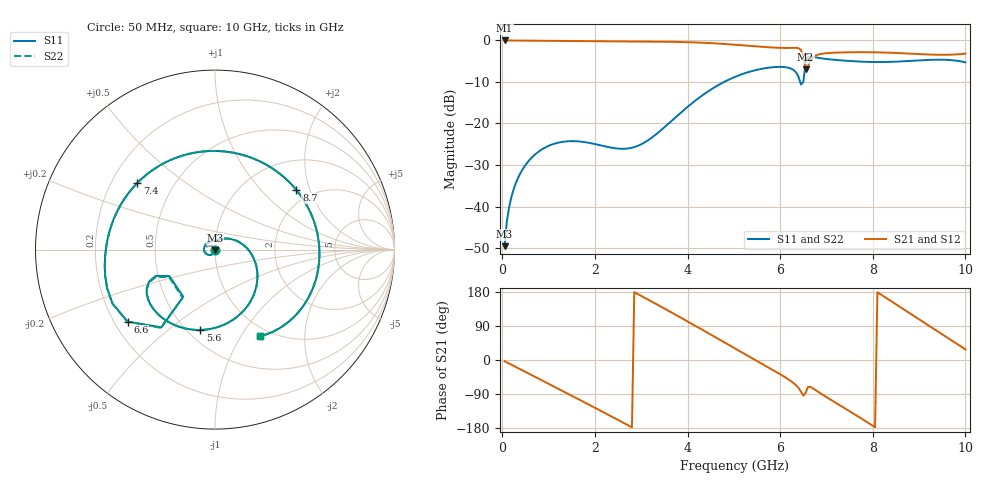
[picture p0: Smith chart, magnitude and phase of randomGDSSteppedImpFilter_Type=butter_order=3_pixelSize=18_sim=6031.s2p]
! freq	dB(S11)	phase(S11)	dB(S12)	phase(S12)
!  dB(S21)	phase(S21)	dB(S22)	phase(S22)
!S-par simulation data
#  GHz  S  DB  R 50
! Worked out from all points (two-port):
!   200 points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, 50 MHz to 10 GHz, reference 50 ohm
!   highest |S21| = -0.01 dB at 50 MHz (marker M1); lowest = -6.9 dB at 6.55 GHz (marker M2)
!   |S21| within 3 dB of the highest: start of sweep to 6.472 GHz; 7.077 GHz to 8.484 GHz (1.407 GHz wide, 18.1 % of centre)
!   lowest |S11| = -49.5 dB at 50 MHz (marker M3), VSWR 1.01, Z = 50 - j0.333 ohm
!   |S11| at or under -10 dB: start of sweep to 4.789 GHz; 6.432 GHz to 6.499 GHz (66.5 MHz wide, 1.03 % of centre)
!   |S22| runs from -49.2 to -3.8 dB; largest |S21 - S12| = 0
!   S11 on the Smith chart (normalised r, x): 50 MHz: 1.00, -0.01; 5.6 GHz: 0.58, -0.65; 6.6 GHz: 0.25, -0.34; 7.4 GHz: 0.31, +0.34; 8.7 GHz: 1.67, +1.62; 10 GHz: 0.88, -1.21
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0.05  -49.54 -86.0  -0.01 -3.2  -0.01 -3.2  -49.20 -88.4
0.2  -37.55 -100.3  -0.02 -12.6  -0.02 -12.6  -37.56 -100.3
0.5  -30.01 -121.3  -0.05 -31.5  -0.05 -31.5  -30.01 -121.2
1.15  -24.78 -163.4  -0.10 -72.2  -0.10 -72.2  -24.78 -163.3
1.75  -24.44 158.0  -0.15 -110.1  -0.15 -110.1  -24.44 158.4
2.6  -26.10 102.2  -0.21 -164.6  -0.21 -164.6  -26.11 103.0
3.4  -21.88 49.6  -0.29 142.6  -0.29 142.6  -21.89 50.4
4.2  -14.22 -3.7  -0.50 88.0  -0.50 88.0  -14.22 -3.3
5.05  -8.66 -62.4  -1.06 28.7  -1.06 28.7  -8.67 -62.1
5.6  -6.84 -100.4  -1.54 -9.3  -1.54 -9.3  -6.84 -100.1
6.1  -6.43 -135.7  -1.81 -44.9  -1.81 -44.9  -6.42 -135.2
6.4  -8.86 -156.1  -1.89 -74.3  -1.89 -74.3  -8.82 -155.3
6.5  -9.98 -124.0  -3.92 -94.0  -3.92 -94.0  -9.81 -123.9
6.55  -5.57 -124.6  -6.94 -87.1  -6.94 -87.1  -5.51 -124.8
6.6  -4.00 -140.5  -6.22 -71.2  -6.22 -71.2  -3.98 -140.6
6.7  -3.90 -160.2  -4.13 -74.2  -4.13 -74.2  -3.89 -160.1
7.4  -4.87 139.5  -2.87 -127.7  -2.87 -127.7  -4.87 139.9
7.9  -5.17 100.3  -2.83 -165.7  -2.83 -165.7  -5.17 100.7
8.35  -5.17 64.2  -2.95 159.0  -2.95 159.0  -5.18 64.7
8.7  -5.00 36.3  -3.12 131.1  -3.12 131.1  -5.01 36.7
9.3  -4.65 -10.3  -3.42 83.5  -3.42 83.5  -4.66 -9.9
10  -5.29 -62.7  -3.18 27.9  -3.18 27.9  -5.29 -62.4
